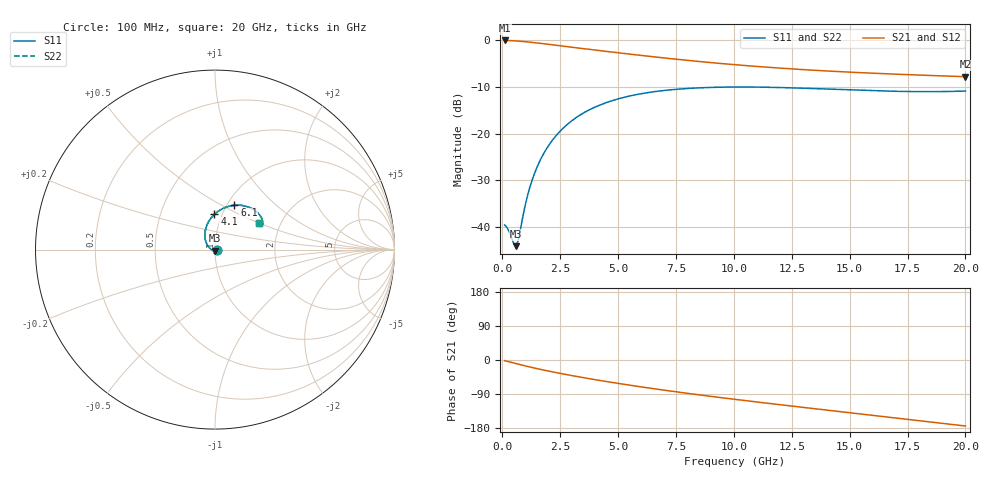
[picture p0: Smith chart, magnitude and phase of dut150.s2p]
! Created with skrf 1.9.0 (http://scikit-rf.org).
# GHz S RI R 50.0
!freq ReS11 ImS11 ReS21 ImS21 ReS12 ImS12 ReS22 ImS22
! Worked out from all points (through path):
!   200 points, 100 MHz to 20 GHz, reference 50 ohm
!   highest |S21| = -0.10 dB at 100 MHz (marker M1); lowest = -7.8 dB at 20 GHz (marker M2)
!   group delay of S21, straight-line fit = 22.6 ps
!   lowest |S11| = -44.0 dB at 600 MHz (marker M3), VSWR 1.01, Z = 49.9 - j0.623 ohm
!   |S11| at or under -10 dB: start of sweep to end of sweep
!   |S22| runs from -44.0 to -10.0 dB; largest |S21 - S12| = 2e-15
!   S11 on the Smith chart (normalised r, x): 100 MHz: 1.02, -0.00; 4.1 GHz: 0.92, +0.38; 6.1 GHz: 1.08, +0.58; 20 GHz: 1.55, +0.49
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0.1  0.0105 -0.00154  0.9884 -0.0281  0.9884 -0.0281  0.0105 -0.00154
0.3  0.00781 -0.00443  0.9825 -0.0836  0.9825 -0.0836  0.00781 -0.00443
0.5  0.00262 -0.00609  0.9712 -0.1374  0.9712 -0.1374  0.00262 -0.00609
0.6  -0.000763 -0.00624  0.9637 -0.1634  0.9637 -0.1634  -0.000763 -0.00624
0.7  -0.00457 -0.00585  0.9551 -0.1887  0.9551 -0.1887  -0.00457 -0.00585
1  -0.0176 -0.000966  0.9236 -0.2596  0.9236 -0.2596  -0.0176 -0.000966
1.2  -0.0267 0.00552  0.8988 -0.3025  0.8988 -0.3025  -0.0267 0.00552
1.4  -0.0352 0.0144  0.8719 -0.3419  0.8719 -0.3419  -0.0352 0.0144
1.7  -0.046 0.0317  0.8288 -0.3944  0.8288 -0.3944  -0.046 0.0317
2.1  -0.0547 0.0598  0.7686 -0.4537  0.7686 -0.4537  -0.0547 0.0598
2.5  -0.056 0.0905  0.7073 -0.5022  0.7073 -0.5022  -0.056 0.0905
3  -0.0479 0.1286  0.6309 -0.5504  0.6309 -0.5504  -0.0479 0.1286
3.5  -0.031 0.163  0.5559 -0.5871  0.5559 -0.5871  -0.031 0.163
4.1  -0.00283 0.1967  0.4688 -0.6182  0.4688 -0.6182  -0.00283 0.1967
5  0.0472 0.2302  0.346 -0.6431  0.346 -0.6431  0.0472 0.2302
6.1  0.1086 0.2468  0.2111 -0.6462  0.2111 -0.6462  0.1086 0.2468
6.8  0.1435 0.2468  0.1348 -0.6366  0.1348 -0.6366  0.1435 0.2468
8.4  0.2057 0.2286  -0.0126 -0.5926  -0.0126 -0.5926  0.2057 0.2286
10.1  0.2451 0.1977  -0.1337 -0.5267  -0.1337 -0.5267  0.2451 0.1977
13.4  0.2656 0.1462  -0.2926 -0.3758  -0.2926 -0.3758  0.2656 0.1462
16.7  0.2531 0.1296  -0.3797 -0.2112  -0.3797 -0.2112  0.2531 0.1296
20  0.2446 0.1461  -0.4039 -0.0411  -0.4039 -0.0411  0.2446 0.1461
